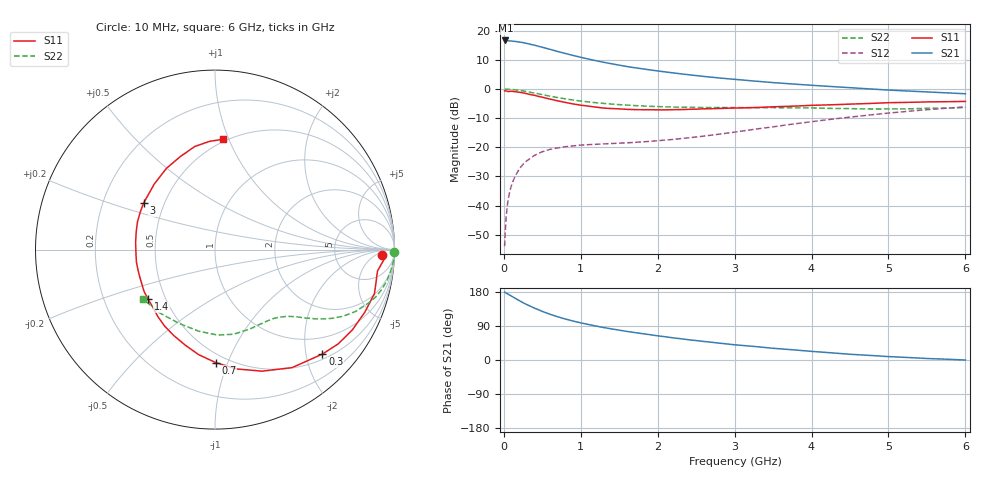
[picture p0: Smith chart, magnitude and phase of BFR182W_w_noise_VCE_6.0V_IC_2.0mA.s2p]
! Infineon Technologies  Discrete & RF Semiconductors
! BFR182W
! VCE =  6.0 V,  IC =  2.0 mA
! Common Emitter S-Parameters:  Jan 2017
# GHz  S  MA  R  50
!  f  S11  S21  S12  S22
! GHz  MAG  ANG  MAG  ANG  MAG  ANG  MAG  ANG
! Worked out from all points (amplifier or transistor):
!   77 points, 10 MHz to 6 GHz, reference 50 ohm
!   highest |S21| = 16.7 dB at 20 MHz (marker M1)
!   |S21| within 3 dB of that: start of sweep to 593.2 MHz
!   unconditionally stable (mu >= 1): 1.774 GHz to 3.145 GHz
!   at 130 MHz: K = 0.08, MSG = 23.7 dB, |S12| = -31.0 dB
!   at 2.2 GHz: K = 1.08, MAG = 9.7 dB, |S12| = -17.3 dB
!   at 6 GHz: K = 0.82, MSG = 2.3 dB, |S12| = -6.1 dB
!   lowest NFmin = 0.85 dB at 450 MHz
!   S11 on the Smith chart (normalised r, x): 10 MHz: 24, -10; 300 MHz: 0.61, -2.33; 700 MHz: 0.43, -0.91; 1.4 GHz: 0.40, -0.28; 3 GHz: 0.38, +0.26; 6 GHz: 0.48, +0.95
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0.01  0.9327 -1.7  6.8 178.9  0.002 85.8  1 -0.7
0.02  0.9452 -3.1  6.877 178.0  0.0038 92.5  1 -1.5
0.03  0.934 -4.5  6.85 176.8  0.0063 88.6  1 -2.2
0.05  0.9133 -7.5  6.804 174.3  0.0112 85.9  0.9961 -3.5
0.1  0.9218 -15.4  6.725 168.5  0.0223 82.8  0.9861 -7.0
0.2  0.8866 -30.3  6.465 156.8  0.0423 73.1  0.9547 -13.5
0.25  0.8644 -37.4  6.322 151.2  0.0513 69.0  0.9335 -16.4
0.3  0.8349 -44.2  6.107 146.1  0.0588 65.1  0.9069 -19.1
0.4  0.7851 -56.9  5.703 136.6  0.073 59.0  0.8566 -23.7
0.5  0.7265 -68.8  5.25 128.3  0.0841 53.9  0.8054 -27.4
0.6  0.6758 -79.7  4.842 120.7  0.0922 49.9  0.7585 -30.3
0.7  0.6298 -89.6  4.445 114.1  0.0977 46.9  0.7168 -32.6
0.9  0.5572 -107.4  3.796 102.8  0.1059 42.9  0.651 -36.0
1.1  0.5107 -123.2  3.295 93.7  0.1113 41.2  0.6039 -38.6
1.4  0.4642 -143.5  2.732 82.1  0.1163 41.1  0.5537 -42.2
1.7  0.4455 -160.7  2.336 72.5  0.1215 43.8  0.5225 -46.0
2.1  0.4411 179.5  1.979 61.3  0.1334 48.5  0.4976 -51.8
3  0.4746 147.0  1.476 40.1  0.1824 57.9  0.482 -67.9
3.1  0.4769 144.1  1.437 38.4  0.1909 58.3  0.4811 -69.8
4.1  0.5315 118.5  1.144 21.3  0.2866 57.4  0.472 -90.7
5.1  0.5883 99.3  0.951 8.1  0.399 48.9  0.457 -119.4
6  0.6162 86.0  0.834 0.0  0.4966 38.3  0.4851 -145.3
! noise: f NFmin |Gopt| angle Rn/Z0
0.45  0.85  0.5  30  0.26
0.9  0.99  0.4  58  0.24
1.9  1.74  0.3  142  0.14
2.4  2.11  0.26  164  0.19
